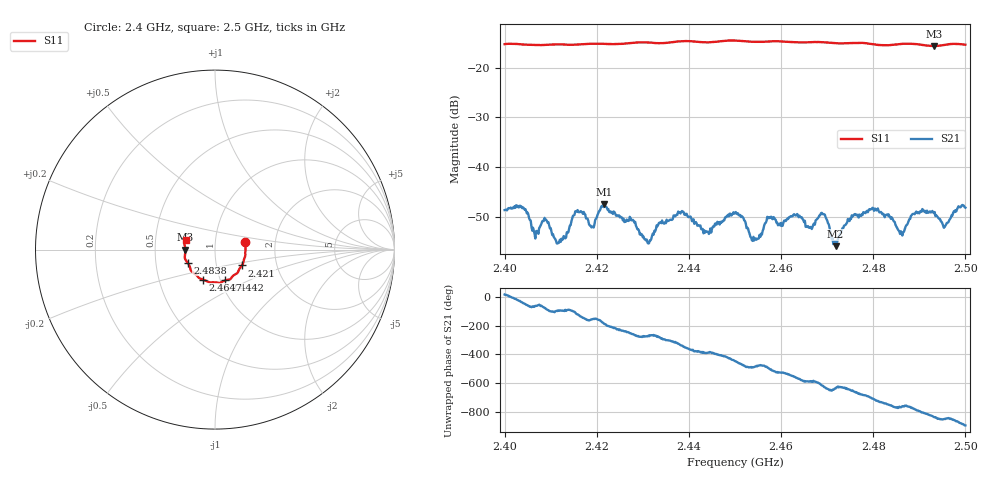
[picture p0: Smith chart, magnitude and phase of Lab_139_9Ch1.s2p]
# Hz S RI R 50
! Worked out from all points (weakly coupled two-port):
!   601 points, 2.4 GHz to 2.5 GHz, reference 50 ohm
!   highest |S21| = -47.51 dB at 2.4217 GHz (marker M1); lowest = -56.0 dB at 2.4718 GHz (marker M2)
!   lowest |S11| = -15.6 dB at 2.4932 GHz (marker M3), VSWR 1.40, Z = 35.8 - j0.0817 ohm
!   |S11| at or under -10 dB: start of sweep to end of sweep
!   S12 and S22 are empty: the file has one direction only
!   S11 on the Smith chart (normalised r, x): 2.4 GHz: 1.40, +0.12; 2.421 GHz: 1.33, -0.24; 2.4442 GHz: 1.05, -0.37; 2.4647 GHz: 0.83, -0.29; 2.4838 GHz: 0.73, -0.11; 2.5 GHz: 0.72, +0.08
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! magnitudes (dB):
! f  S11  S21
! 2.4 GHz  -15.2  -48.7
! 2.4117 GHz  -15.3  -55.3
! 2.4167 GHz  -15.3  -49.0
! 2.419 GHz  -15.2  -52.1
! 2.421 GHz  -15.2  -48.0
! 2.4217 GHz  -15.2  -47.5
! 2.4308 GHz  -14.9  -54.6
! 2.4333 GHz  -15.0  -51.6
! 2.4383 GHz  -14.7  -49.0
! 2.4442 GHz  -14.9  -53.1
! 2.45 GHz  -14.5  -49.4
! 2.4542 GHz  -14.8  -54.8
! 2.4647 GHz  -14.9  -50.5
! 2.4667 GHz  -14.8  -52.5
! 2.4692 GHz  -14.9  -49.5
! 2.4718 GHz  -15.1  -56.0
! 2.4758 GHz  -15.0  -49.6
! 2.4833 GHz  -15.5  -49.5
! 2.4838 GHz  -15.4  -50.5
! 2.4862 GHz  -15.2  -53.4
! 2.4932 GHz  -15.6  -49.3
! 2.5 GHz  -15.3  -48.2
